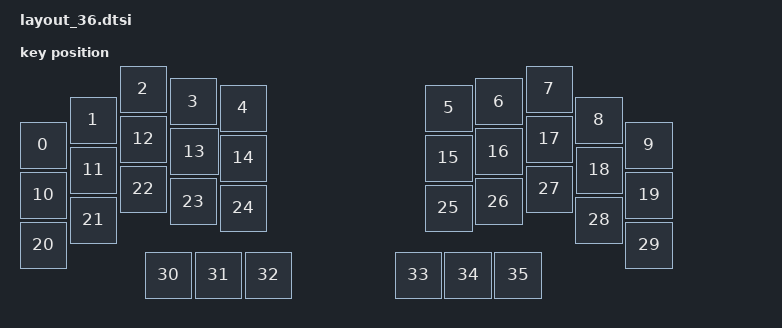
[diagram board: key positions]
#include "position_map.dtsi"
#include <physical_layouts.dtsi>

/ {
    gggw_crosses_36_layout: gggw_crosses_36_layout {
        compatible = "zmk,physical-layout";
        display-name = "36 Key";

        keys  //                     w   h    x    y     rot    rx    ry
            = <&key_physical_attrs 100 100    0  112       0     0     0>
            , <&key_physical_attrs 100 100  100   62       0     0     0>
            , <&key_physical_attrs 100 100  200    0       0     0     0>
            , <&key_physical_attrs 100 100  300   25       0     0     0>
            , <&key_physical_attrs 100 100  400   38       0     0     0>
            , <&key_physical_attrs 100 100  812   38       0     0     0>
            , <&key_physical_attrs 100 100  912   25       0     0     0>
            , <&key_physical_attrs 100 100 1012    0       0     0     0>
            , <&key_physical_attrs 100 100 1112   62       0     0     0>
            , <&key_physical_attrs 100 100 1212  112       0     0     0>
            , <&key_physical_attrs 100 100    0  212       0     0     0>
            , <&key_physical_attrs 100 100  100  162       0     0     0>
            , <&key_physical_attrs 100 100  200  100       0     0     0>
            , <&key_physical_attrs 104 100  300  125       0     0     0>
            , <&key_physical_attrs 100 100  400  138       0     0     0>
            , <&key_physical_attrs 100 100  812  138       0     0     0>
            , <&key_physical_attrs 100 100  912  125       0     0     0>
            , <&key_physical_attrs 100 100 1012  100       0     0     0>
            , <&key_physical_attrs 100 100 1113  162       0     0     0>
            , <&key_physical_attrs 100 100 1212  212       0     0     0>
            , <&key_physical_attrs 100 100    0  312       0     0     0>
            , <&key_physical_attrs 100 100  100  262       0     0     0>
            , <&key_physical_attrs 100 100  200  200       0     0     0>
            , <&key_physical_attrs 100 100  300  225       0     0     0>
            , <&key_physical_attrs 100 100  400  238       0     0     0>
            , <&key_physical_attrs 100 100  812  238       0     0     0>
            , <&key_physical_attrs 100 100  912  225       0     0     0>
            , <&key_physical_attrs 100 100 1012  200       0     0     0>
            , <&key_physical_attrs 100 100 1112  262       0     0     0>
            , <&key_physical_attrs 100 100 1212  312       0     0     0>
            , <&key_physical_attrs 100 100  250  372       0     0     0>
            , <&key_physical_attrs 100 100  350  372       0     0     0>
            , <&key_physical_attrs 100 100  450  372       0     0     0>
            , <&key_physical_attrs 100 100  750  372       0     0     0>
            , <&key_physical_attrs 100 100  850  372       0     0     0>
            , <&key_physical_attrs 100 100  950  372       0     0     0>
            ;
    };
};

&layouts_gggw_crosses_position_map {
    gggw_crosses_thirty_six_posmap: ts {
        physical-layout = <&gggw_crosses_36_layout>;
        positions
            = <42 43 44 45 46 47    48 49 50 51 52 53>
            , <36  0  1  2  3  4     5  6  7  8  9 37>
            , <38 10 11 12 13 14    15 16 17 18 19 38>
            , <40 20 21 22 23 24    25 26 27 28 29 40>
            , <         30 31 32    33 34 35         >
            ;
    };
};
